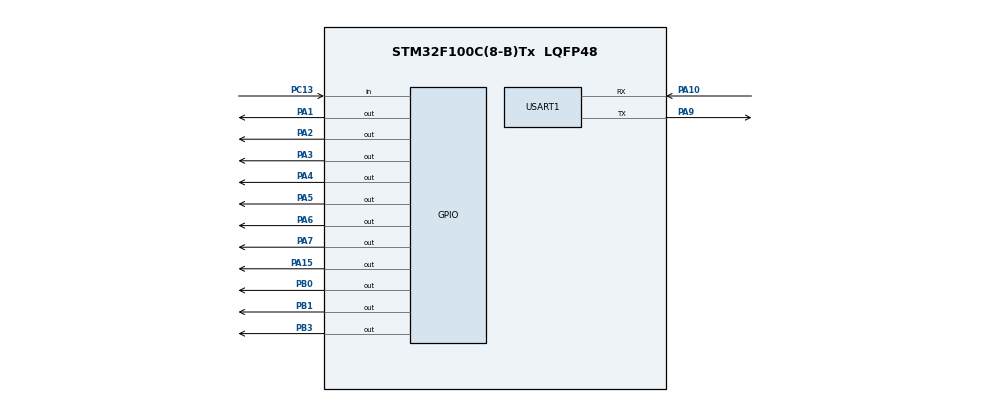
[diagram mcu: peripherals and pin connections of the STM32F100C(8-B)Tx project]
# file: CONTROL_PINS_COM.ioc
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Mcu.Family=STM32F1
Mcu.Name=STM32F100C(8-B)Tx
Mcu.Package=LQFP48
NVIC.PriorityGroup=NVIC_PRIORITYGROUP_4
NVIC.TIM1_TRG_COM_TIM17_IRQn=true\:0\:0\:false\:false\:true\:true\:true
NVIC.TIM1_UP_TIM16_IRQn=true\:0\:0\:false\:false\:true\:true\:true
NVIC.TIM6_DAC_IRQn=true\:0\:0\:false\:false\:true\:true\:true
NVIC.TIM7_IRQn=true\:0\:0\:false\:false\:true\:true\:true
NVIC.USART1_IRQn=true\:0\:0\:true\:false\:true\:true\:true
PA1.Signal=GPIO_Output
PA10.Mode=Asynchronous
PA10.Signal=USART1_RX
PA13.Signal=SYS_JTMS-SWDIO
PA14.Signal=SYS_JTCK-SWCLK
PA15.Signal=GPIO_Output
PA2.Signal=GPIO_Output
PA3.Signal=GPIO_Output
PA4.Signal=GPIO_Output
PA5.Signal=GPIO_Output
PA6.Signal=GPIO_Output
PA7.Signal=GPIO_Output
PA9.Mode=Asynchronous
PA9.Signal=USART1_TX
PB0.Signal=GPIO_Output
PB1.Signal=GPIO_Output
PB3.GPIO_ModeDefaultOutputPP=GPIO_MODE_OUTPUT_PP
PB3.GPIO_Speed=GPIO_SPEED_FREQ_LOW
PB3.PinState=GPIO_PIN_SET
PB3.Signal=GPIO_Output
PC13-TAMPER-RTC.GPIO_PuPd=GPIO_PULLUP
PC13-TAMPER-RTC.Signal=GPIO_Input
ProjectManager.HeapSize=0x200
ProjectManager.StackSize=0x400
ProjectManager.TargetToolchain=EWARM V8
RCC.APB1Freq_Value=8000000
RCC.APB2Freq_Value=8000000
TIM16.AutoReloadPreload=TIM_AUTORELOAD_PRELOAD_ENABLE
TIM16.Period=999
TIM16.Prescaler=8000
TIM17.AutoReloadPreload=TIM_AUTORELOAD_PRELOAD_ENABLE
TIM17.Period=999
TIM17.Prescaler=8
TIM6.AutoReloadPreload=TIM_AUTORELOAD_PRELOAD_ENABLE
TIM6.Period=999
TIM6.Prescaler=8000
TIM7.AutoReloadPreload=TIM_AUTORELOAD_PRELOAD_ENABLE
TIM7.Period=999
TIM7.Prescaler=8000
USART1.VirtualMode=VM_ASYNC
VP_SYS_VS_ND.Mode=No_Debug
VP_TIM16_VS_ClockSourceINT.Mode=Enable_Timer
VP_TIM17_VS_ClockSourceINT.Mode=Enable_Timer
VP_TIM6_VS_ClockSourceINT.Mode=Enable_Timer
VP_TIM7_VS_ClockSourceINT.Mode=Enable_Timer
board=custom

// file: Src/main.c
/* USER CODE BEGIN Header */
/**
  ******************************************************************************
  * @file           : main.c
  * @brief          : Main program body
  ******************************************************************************
  * @attention
  *
  * <h2><center>&copy; Copyright (c) 2020 STMicroelectronics.
  * All rights reserved.</center></h2>
  *
  * This software component is licensed by ST under BSD 3-Clause license,
  * the "License"; You may not use this file except in compliance with the
  * License. You may obtain a copy of the License at:
  *                        opensource.org/licenses/BSD-3-Clause
  *
  ******************************************************************************
  */
/* USER CODE END Header */

#include "main.h"
#include "tim.h"
#include "usart.h"
#include "gpio.h"

/* USER CODE BEGIN Includes */
#include "nortos.h"
/* USER CODE END Includes */

void SystemClock_Config(void);

/* USER CODE BEGIN 0 */
void drivePA1(void){
static uint8_t count = 0;
  if(count++%2)HAL_GPIO_WritePin(GPIOA, GPIO_PIN_1, GPIO_PIN_SET);
  else HAL_GPIO_WritePin(GPIOA, GPIO_PIN_1, GPIO_PIN_RESET);
}

static uint8_t buffer[1];

void blink(int count){
  while(count--){
         HAL_GPIO_WritePin(GPIOA, GPIO_PIN_1, GPIO_PIN_RESET);
         Delay_ms_OnFastQ(100);
         HAL_GPIO_WritePin(GPIOA, GPIO_PIN_1, GPIO_PIN_SET);
         Delay_ms_OnFastQ(100);
         HAL_GPIO_WritePin(GPIOA, GPIO_PIN_1, GPIO_PIN_RESET);
  }
}

void driveLED(void){
  HAL_UART_Receive_IT(&huart1, buffer, sizeof(buffer));

  switch(*buffer){
       case '0':
            HAL_GPIO_WritePin(GPIOA, GPIO_PIN_15, GPIO_PIN_RESET);
            HAL_GPIO_WritePin(GPIOB, GPIO_PIN_1, GPIO_PIN_RESET);
            HAL_GPIO_WritePin(GPIOB, GPIO_PIN_0, GPIO_PIN_RESET);
            HAL_GPIO_WritePin(GPIOA, GPIO_PIN_7, GPIO_PIN_RESET);
            HAL_GPIO_WritePin(GPIOA, GPIO_PIN_6, GPIO_PIN_RESET);
            break;
       case '2':
            blink(2);
            HAL_GPIO_WritePin(GPIOB, GPIO_PIN_1, GPIO_PIN_SET);         // TWO OHM SET
            HAL_GPIO_WritePin(GPIOB, GPIO_PIN_0, GPIO_PIN_RESET);       // THREE OHM RESET
            HAL_GPIO_WritePin(GPIOA, GPIO_PIN_7, GPIO_PIN_RESET);       // FOUR OHM RESET
            HAL_GPIO_WritePin(GPIOA, GPIO_PIN_6, GPIO_PIN_RESET);       // EIGHT OHM RESET
            break;
       case '3':
            blink(3);
            HAL_GPIO_WritePin(GPIOB, GPIO_PIN_1, GPIO_PIN_RESET);       // TWO OHM RESET
            HAL_GPIO_WritePin(GPIOB, GPIO_PIN_0, GPIO_PIN_SET);       // THREE OHM SET
            HAL_GPIO_WritePin(GPIOA, GPIO_PIN_7, GPIO_PIN_RESET);       // FOUR OHM RESET
            HAL_GPIO_WritePin(GPIOA, GPIO_PIN_6, GPIO_PIN_RESET);         // EIGHT OHM RESET
            break;
       case '4':
            blink(8);
            HAL_GPIO_WritePin(GPIOB, GPIO_PIN_1, GPIO_PIN_RESET);       // TWO OHM RESET
            HAL_GPIO_WritePin(GPIOB, GPIO_PIN_0, GPIO_PIN_RESET);       // THREE OHM RESET
            HAL_GPIO_WritePin(GPIOA, GPIO_PIN_7, GPIO_PIN_RESET);       // EIGHT OHM RESET
            HAL_GPIO_WritePin(GPIOA, GPIO_PIN_6, GPIO_PIN_SET);         // FOUR OHM SET
            break;
       case '8':
            blink(4);
            HAL_GPIO_WritePin(GPIOB, GPIO_PIN_1, GPIO_PIN_RESET);       // TWO OHM RESET
            HAL_GPIO_WritePin(GPIOB, GPIO_PIN_0, GPIO_PIN_RESET);       // THREE OHM RESET
            HAL_GPIO_WritePin(GPIOA, GPIO_PIN_7, GPIO_PIN_SET);       // EIGHT OHM SET
            HAL_GPIO_WritePin(GPIOA, GPIO_PIN_6, GPIO_PIN_RESET);     // FOUR OHM RESET
            break;
       case 'L':
            blink(16);
            HAL_GPIO_WritePin(GPIOA, GPIO_PIN_5, GPIO_PIN_SET);         // FOUR OHM SET
            break;
       case 'N':
            blink(16);
            HAL_GPIO_WritePin(GPIOA, GPIO_PIN_5, GPIO_PIN_RESET);     // FOUR OHM RESET
            break;
  }

}
volatile uint32_t ms_time = 0;

uint32_t millis(void){
  return ms_time;
}

void tick(void){
   ms_time++;
}

/* USER CODE END 0 */

int main(void)
{

  /* MCU Configuration--------------------------------------------------------*/

  /* Reset of all peripherals, Initializes the Flash interface and the Systick. */
  HAL_Init();

  /* USER CODE BEGIN Init */
  pFastQueueIni();
  /* USER CODE END Init */

  /* Configure the system clock */
  SystemClock_Config();

  /* Initialize all configured peripherals */
  MX_GPIO_Init();
  MX_USART1_UART_Init();
  MX_TIM6_Init();
  MX_TIM7_Init();
  MX_TIM16_Init();
  MX_TIM17_Init();
  /* USER CODE BEGIN 2 */
  HAL_TIM_Base_Start_IT(&htim6);
  HAL_TIM_Base_Start_IT(&htim7);
  HAL_TIM_Base_Start_IT(&htim16);
  HAL_TIM_Base_Start_IT(&htim17);
  /* USER CODE END 2 */

  /* Infinite loop */
  /* USER CODE BEGIN WHILE */

  HAL_UART_Receive_IT(&huart1, buffer, sizeof(buffer));
  while (1)
  {
   F_pull()();
    /* USER CODE END WHILE */

  }
}

void SystemClock_Config(void)
{
  RCC_OscInitTypeDef RCC_OscInitStruct = {0};
  RCC_ClkInitTypeDef RCC_ClkInitStruct = {0};

  /** Initializes the CPU, AHB and APB busses clocks
  */
  RCC_OscInitStruct.OscillatorType = RCC_OSCILLATORTYPE_HSI;
  RCC_OscInitStruct.HSIState = RCC_HSI_ON;
  RCC_OscInitStruct.HSICalibrationValue = RCC_HSICALIBRATION_DEFAULT;
  RCC_OscInitStruct.PLL.PLLState = RCC_PLL_NONE;
  if (HAL_RCC_OscConfig(&RCC_OscInitStruct) != HAL_OK)
  {
    Error_Handler();
  }
  /** Initializes the CPU, AHB and APB busses clocks
  */
  RCC_ClkInitStruct.ClockType = RCC_CLOCKTYPE_HCLK|RCC_CLOCKTYPE_SYSCLK
                              |RCC_CLOCKTYPE_PCLK1|RCC_CLOCKTYPE_PCLK2;
  RCC_ClkInitStruct.SYSCLKSource = RCC_SYSCLKSOURCE_HSI;
  RCC_ClkInitStruct.AHBCLKDivider = RCC_SYSCLK_DIV1;
  RCC_ClkInitStruct.APB1CLKDivider = RCC_HCLK_DIV1;
  RCC_ClkInitStruct.APB2CLKDivider = RCC_HCLK_DIV1;

  if (HAL_RCC_ClockConfig(&RCC_ClkInitStruct, FLASH_LATENCY_0) != HAL_OK)
  {
    Error_Handler();
  }
}

void Error_Handler(void)
{
}

/************************ (C) COPYRIGHT STMicroelectronics *****END OF FILE****/
